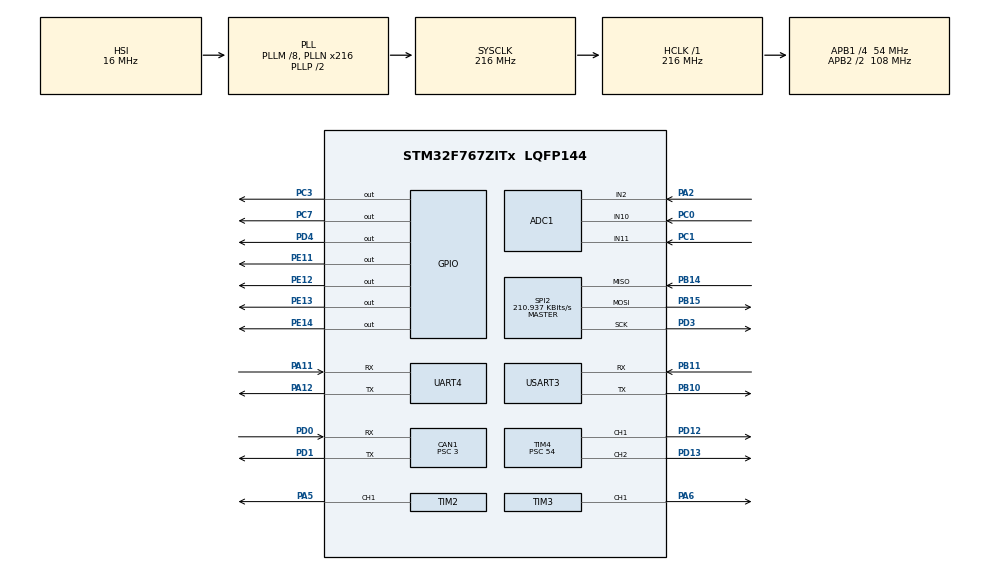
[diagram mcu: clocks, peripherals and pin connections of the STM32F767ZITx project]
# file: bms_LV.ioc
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ADC1.Channel-0\#ChannelRegularConversion=ADC_CHANNEL_2
ADC1.ContinuousConvMode=ENABLE
ADC1.NbrOfConversion=1
ADC1.NbrOfConversionFlag=1
ADC1.Rank-0\#ChannelRegularConversion=1
ADC1.SamplingTime-0\#ChannelRegularConversion=ADC_SAMPLETIME_480CYCLES
ADC1.ScanConvMode=ADC_SCAN_DISABLE
ADC1.master=1
CAN1.AWUM=ENABLE
CAN1.BS1=CAN_BS1_12TQ
CAN1.BS2=CAN_BS2_5TQ
CAN1.CalculateTimeQuantum=55.55555555555556
CAN1.NART=ENABLE
CAN1.Prescaler=3
CAN1.SJW=CAN_SJW_1TQ
Dma.ADC1.0.Direction=DMA_PERIPH_TO_MEMORY
Dma.ADC1.0.FIFOMode=DMA_FIFOMODE_DISABLE
Dma.ADC1.0.Instance=DMA2_Stream0
Dma.ADC1.0.MemDataAlignment=DMA_MDATAALIGN_HALFWORD
Dma.ADC1.0.MemInc=DMA_MINC_ENABLE
Dma.ADC1.0.Mode=DMA_CIRCULAR
Dma.ADC1.0.PeriphDataAlignment=DMA_PDATAALIGN_HALFWORD
Dma.ADC1.0.PeriphInc=DMA_PINC_DISABLE
Dma.ADC1.0.Priority=DMA_PRIORITY_LOW
Dma.Request0=ADC1
Mcu.Family=STM32F7
Mcu.Name=STM32F767ZITx
Mcu.Package=LQFP144
NVIC.ADC_IRQn=true\:0\:0\:false\:false\:true\:true\:true
NVIC.CAN1_RX0_IRQn=true\:0\:0\:false\:true\:true\:3\:true\:true
NVIC.CAN1_RX1_IRQn=true\:0\:0\:false\:true\:true\:2\:true\:true
NVIC.CAN1_SCE_IRQn=true\:0\:0\:false\:true\:true\:1\:true\:true
NVIC.CAN1_TX_IRQn=true\:0\:0\:false\:true\:true\:4\:true\:true
NVIC.DMA2_Stream0_IRQn=true\:0\:0\:false\:false\:true\:false\:true
NVIC.PriorityGroup=NVIC_PRIORITYGROUP_4
PA11.Mode=Asynchronous
PA11.Signal=UART4_RX
PA12.Mode=Asynchronous
PA12.Signal=UART4_TX
PA2.Signal=ADCx_IN2
PA5.Signal=S_TIM2_CH1_ETR
PA6.Signal=S_TIM3_CH1
PB10.Mode=Asynchronous
PB10.Signal=USART3_TX
PB11.Mode=Asynchronous
PB11.Signal=USART3_RX
PB14.Mode=Full_Duplex_Master
PB14.Signal=SPI2_MISO
PB15.Mode=Full_Duplex_Master
PB15.Signal=SPI2_MOSI
PC0.Signal=ADCx_IN10
PC1.Signal=ADCx_IN11
PC3.Signal=GPIO_Output
PC7.Signal=GPIO_Output
PD0.Mode=Master
PD0.Signal=CAN1_RX
PD1.Mode=Master
PD1.Signal=CAN1_TX
PD12.Signal=S_TIM4_CH1
PD13.Signal=S_TIM4_CH2
PD3.Mode=Full_Duplex_Master
PD3.Signal=SPI2_SCK
PD4.Signal=GPIO_Output
PE11.Signal=GPIO_Output
PE12.Signal=GPIO_Output
PE13.Signal=GPIO_Output
PE14.Signal=GPIO_Output
ProjectManager.HeapSize=0x200
ProjectManager.StackSize=0x400
ProjectManager.TargetToolchain=Makefile
RCC.AHBFreq_Value=216000000
RCC.APB1CLKDivider=RCC_HCLK_DIV4
RCC.APB1Freq_Value=54000000
RCC.APB1TimFreq_Value=108000000
RCC.APB2CLKDivider=RCC_HCLK_DIV2
RCC.APB2Freq_Value=108000000
RCC.APB2TimFreq_Value=216000000
RCC.CortexFreq_Value=216000000
RCC.HCLKFreq_Value=216000000
RCC.HSE_VALUE=25000000
RCC.HSI_VALUE=16000000
RCC.LSE_VALUE=32768
RCC.PLLM=8
RCC.PLLN=216
RCC.SYSCLKFreq_VALUE=216000000
RCC.SYSCLKSource=RCC_SYSCLKSOURCE_PLLCLK
RCC.USBFreq_Value=216000000
RCC.VCOOutputFreq_Value=432000000
SH.ADCx_IN10.0=ADC1_IN10,IN10
SH.ADCx_IN11.0=ADC1_IN11,IN11
SH.ADCx_IN2.0=ADC1_IN2,IN2
SH.S_TIM2_CH1_ETR.0=TIM2_CH1,PWM Generation1 CH1
SH.S_TIM3_CH1.0=TIM3_CH1,PWM Generation1 CH1
SH.S_TIM4_CH1.0=TIM4_CH1,PWM Generation1 CH1
SH.S_TIM4_CH2.0=TIM4_CH2,PWM Generation2 CH2
SPI2.BaudRatePrescaler=SPI_BAUDRATEPRESCALER_256
SPI2.CalculateBaudRate=210.937 KBits/s
SPI2.DataSize=SPI_DATASIZE_8BIT
SPI2.Direction=SPI_DIRECTION_2LINES
SPI2.FirstBit=SPI_FIRSTBIT_MSB
SPI2.Mode=SPI_MODE_MASTER
SPI2.VirtualType=VM_MASTER
TIM2.Channel-PWM\ Generation1\ CH1=TIM_CHANNEL_1
TIM2.Period=1000
TIM2.Prescaler=208
TIM2.Pulse-PWM\ Generation1\ CH1=1
TIM3.AutoReloadPreload=TIM_AUTORELOAD_PRELOAD_DISABLE
TIM3.Channel-PWM\ Generation1\ CH1=TIM_CHANNEL_1
TIM3.Period=1000
TIM3.Prescaler=108
TIM3.Pulse-PWM\ Generation1\ CH1=0
TIM4.Channel-PWM\ Generation1\ CH1=TIM_CHANNEL_1
TIM4.Channel-PWM\ Generation2\ CH2=TIM_CHANNEL_2
TIM4.OC2Preload_PWM=ENABLE
TIM4.OCFastMode_PWM-PWM\ Generation1\ CH1=TIM_OCFAST_DISABLE
TIM4.OCFastMode_PWM-PWM\ Generation2\ CH2=TIM_OCFAST_DISABLE
TIM4.Period=1000
TIM4.Prescaler=54
USART3.VirtualMode-Asynchronous=VM_ASYNC
VP_TIM2_VS_ClockSourceINT.Mode=Internal
VP_TIM3_VS_ClockSourceINT.Mode=Internal
VP_TIM4_VS_ClockSourceINT.Mode=Internal
board=custom

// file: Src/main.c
/* USER CODE BEGIN Header */
/**
  ******************************************************************************
  * @file           : main.c
  * @brief          : Main program body
  ******************************************************************************
  * @attention
  *
  * <h2><center>&copy; Copyright (c) 2019 STMicroelectronics.
  * All rights reserved.</center></h2>
  *
  * This software component is licensed by ST under BSD 3-Clause license,
  * the "License"; You may not use this file except in compliance with the
  * License. You may obtain a copy of the License at:
  *                        opensource.org/licenses/BSD-3-Clause
  *
  ******************************************************************************
  */
/* USER CODE END Header */

#include "main.h"

/* USER CODE BEGIN Includes */

#include "pid_controller.h"
#include "ltc.h"
#include "stdio.h"
#include "string.h"
#include "can.h"
#include "current_sensor.h"

/* USER CODE END Includes */

/* USER CODE BEGIN PTD */

/* ---------------- ID ------------------- */
#define BMS_LV_ASK_ID 0xFF     // Foo Fighters
#define STEER_ASK_ID 0xAF      // Steering wheel
#define INV_LEFT_ASK_ID 0x181  // Inverter left
#define INV_RIGHT_ASK_ID 0x182 // Inverter right
#define ACC_TEMP_ASK_ID 0xAA   // Accumulator temperatures
#define ECU_ASK_ID 0xF8        // ECU initial check ID

/* ---------------- PIN ------------------- */
#define RELAY_PIN GPIOC
#define RELAY_PIN_N GPIO_PIN_6

//PC7   -> LED Error
//PC6   -> Relay

//Pump
//PD13  -> PWM  -> Pump1
//PD12  -> PWM  -> Pump2

//Radiator
//PC0   -> ADC  -> Radiator1
//PC1   -> ADC  -> Radiator2

//SPI2
//PB14  -> Miso -> LTC6810-2
//PB15  -> Mosi -> LTC6810-2
//PD3   -> SCK  -> LTC6810-2
//PD4   -> CS   -> LTC6810-2

/* USER CODE END PTD */

ADC_HandleTypeDef hadc1;
DMA_HandleTypeDef hdma_adc1;

CAN_HandleTypeDef hcan1;

SPI_HandleTypeDef hspi2;

TIM_HandleTypeDef htim2;
TIM_HandleTypeDef htim3;
TIM_HandleTypeDef htim4;

UART_HandleTypeDef huart4;
UART_HandleTypeDef huart3;

/* USER CODE BEGIN PV */
const bool DEBUG_SENSOR_CURRENT = false;
const bool DEBUG_LTC = true;
ltc_struct ltc;
extern canStruct can1, can3;
char txt[100];
ADC_ChannelConfTypeDef UserAdcConfig = {0};
/* USER CODE END PV */

void SystemClock_Config(void);
static void MX_GPIO_Init(void);
static void MX_CAN1_Init(void);
static void MX_USART3_UART_Init(void);
static void MX_ADC1_Init(void);
static void MX_SPI2_Init(void);
static void MX_DMA_Init(void);
static void MX_TIM4_Init(void);
static void MX_TIM2_Init(void);
static void MX_TIM3_Init(void);
static void MX_UART4_Init(void);
static void MX_NVIC_Init(void);

int main(void)
{

  /* MCU Configuration--------------------------------------------------------*/

  /* Reset of all peripherals, Initializes the Flash interface and the Systick. */
  HAL_Init();

  /* Configure the system clock */
  SystemClock_Config();

  /* Initialize all configured peripherals */
  MX_GPIO_Init();
  MX_CAN1_Init();
  MX_USART3_UART_Init();
  MX_ADC1_Init();
  MX_SPI2_Init();
  MX_DMA_Init();
  MX_TIM4_Init();
  MX_TIM2_Init();
  MX_TIM3_Init();
  MX_UART4_Init();

  /* Initialize interrupts */
  MX_NVIC_Init();
  /* USER CODE BEGIN 2 */

  //FAN PWM
  HAL_TIM_PWM_Start(&htim2, TIM_CHANNEL_1);
  HAL_TIM_PWM_Start(&htim3, TIM_CHANNEL_1);

  //PUMP PWM
  HAL_TIM_PWM_Start(&htim4, TIM_CHANNEL_1);
  HAL_TIM_PWM_Start(&htim4, TIM_CHANNEL_2);
  /* USER CODE END 2 */

  /* Infinite loop */
  /* USER CODE BEGIN WHILE */

  //ERROR_LED
  for (int i = 0; i < 9; i++)
  {
    HAL_GPIO_TogglePin(GPIOC, GPIO_PIN_7);
    HAL_Delay(100);
  }

  //BUZZER
  HAL_GPIO_WritePin(GPIOC, GPIO_PIN_3, GPIO_PIN_SET);
  HAL_Delay(1000);

  can1.rx0_interrupt = CAN1_RX0_IRQn;
  can1.tx_interrupt = CAN1_TX_IRQn;
  can1.hcan = &hcan1;

  can_init();

  LTC_init(&ltc, &hspi2, 0, GPIOD, GPIO_PIN_4);  //init function of LTC_6810
  user_pwm_setvalue(100, &htim4, TIM_CHANNEL_1); //PUMP1
  user_pwm_setvalue(100, &htim4, TIM_CHANNEL_2); //PUMP2
  user_pwm_setvalue(100, &htim2, TIM_CHANNEL_1);

  UserAdcConfig.Channel = ADC_CHANNEL_2;
  UserAdcConfig.Rank = ADC_REGULAR_RANK_1;
  UserAdcConfig.SamplingTime = ADC_SAMPLETIME_480CYCLES;
  if (HAL_ADC_ConfigChannel(&hadc1, &UserAdcConfig) != HAL_OK)
  {
    Error_Handler();
  }
  HAL_ADC_Start_IT(&hadc1);

  int count = 0;
  while (1)
  {
    /****************************************************************************************************
    ****************************************************************************************************
    ****************************************************************************************************
    ****************************************************************************************************/
    /* USER CODE END WHILE */

    /* USER CODE BEGIN 3 */
    //loading();

    char txt[100];
    ltc_read_ID(&ltc);
    // ltc_read_STATUS(&ltc);
    // sprintf(txt, "Status: %d %d %d\r\n", ltc.STATUS_SC, ltc.STATUS_ITMP, ltc.STATUS_VA);
    // HAL_UART_Transmit(&huart4, (uint8_t *)txt, strlen(txt), 10);
    // read_voltages(&ltc);
    // sprintf(txt, "Voltages: %d %d %d %d %d\r\n", ltc.voltage[0], ltc.voltage[1], ltc.voltage[2], ltc.voltage[3], ltc.voltage[4], ltc.voltage[5]);
    // HAL_UART_Transmit(&huart4, (uint8_t *)txt, strlen(txt), 10);
    //user_pwm_setvalue(count % 1000, &htim4, TIM_CHANNEL_2); //1000 = 0.5ms
    //user_pwm_setvalue(count % 1000, &htim2, TIM_CHANNEL_1);
    //user_pwm_setvalue(count % 1000, &htim3, TIM_CHANNEL_1);
    //count++;

    HAL_Delay(10);

    CAN_Read_Message();
  }
  /* USER CODE END 3 */
}

void SystemClock_Config(void)
{
  RCC_OscInitTypeDef RCC_OscInitStruct = {0};
  RCC_ClkInitTypeDef RCC_ClkInitStruct = {0};
  RCC_PeriphCLKInitTypeDef PeriphClkInitStruct = {0};

  /** Configure the main internal regulator output voltage
  */
  __HAL_RCC_PWR_CLK_ENABLE();
  __HAL_PWR_VOLTAGESCALING_CONFIG(PWR_REGULATOR_VOLTAGE_SCALE1);
  /** Initializes the CPU, AHB and APB busses clocks
  */
  RCC_OscInitStruct.OscillatorType = RCC_OSCILLATORTYPE_HSI;
  RCC_OscInitStruct.HSIState = RCC_HSI_ON;
  RCC_OscInitStruct.HSICalibrationValue = RCC_HSICALIBRATION_DEFAULT;
  RCC_OscInitStruct.PLL.PLLState = RCC_PLL_ON;
  RCC_OscInitStruct.PLL.PLLSource = RCC_PLLSOURCE_HSI;
  RCC_OscInitStruct.PLL.PLLM = 8;
  RCC_OscInitStruct.PLL.PLLN = 216;
  RCC_OscInitStruct.PLL.PLLP = RCC_PLLP_DIV2;
  RCC_OscInitStruct.PLL.PLLQ = 2;
  if (HAL_RCC_OscConfig(&RCC_OscInitStruct) != HAL_OK)
  {
    Error_Handler();
  }
  /** Activate the Over-Drive mode
  */
  if (HAL_PWREx_EnableOverDrive() != HAL_OK)
  {
    Error_Handler();
  }
  /** Initializes the CPU, AHB and APB busses clocks
  */
  RCC_ClkInitStruct.ClockType = RCC_CLOCKTYPE_HCLK|RCC_CLOCKTYPE_SYSCLK
                              |RCC_CLOCKTYPE_PCLK1|RCC_CLOCKTYPE_PCLK2;
  RCC_ClkInitStruct.SYSCLKSource = RCC_SYSCLKSOURCE_PLLCLK;
  RCC_ClkInitStruct.AHBCLKDivider = RCC_SYSCLK_DIV1;
  RCC_ClkInitStruct.APB1CLKDivider = RCC_HCLK_DIV4;
  RCC_ClkInitStruct.APB2CLKDivider = RCC_HCLK_DIV2;

  if (HAL_RCC_ClockConfig(&RCC_ClkInitStruct, FLASH_LATENCY_7) != HAL_OK)
  {
    Error_Handler();
  }
  PeriphClkInitStruct.PeriphClockSelection = RCC_PERIPHCLK_USART3|RCC_PERIPHCLK_UART4;
  PeriphClkInitStruct.Usart3ClockSelection = RCC_USART3CLKSOURCE_PCLK1;
  PeriphClkInitStruct.Uart4ClockSelection = RCC_UART4CLKSOURCE_PCLK1;
  if (HAL_RCCEx_PeriphCLKConfig(&PeriphClkInitStruct) != HAL_OK)
  {
    Error_Handler();
  }
}

/**
  * @brief NVIC Configuration.
  * @retval None
  */
static void MX_NVIC_Init(void)
{
  /* CAN1_SCE_IRQn interrupt configuration */
  HAL_NVIC_SetPriority(CAN1_SCE_IRQn, 0, 0);
  HAL_NVIC_EnableIRQ(CAN1_SCE_IRQn);
  /* CAN1_RX1_IRQn interrupt configuration */
  HAL_NVIC_SetPriority(CAN1_RX1_IRQn, 0, 0);
  HAL_NVIC_EnableIRQ(CAN1_RX1_IRQn);
  /* CAN1_RX0_IRQn interrupt configuration */
  HAL_NVIC_SetPriority(CAN1_RX0_IRQn, 0, 0);
  HAL_NVIC_EnableIRQ(CAN1_RX0_IRQn);
  /* CAN1_TX_IRQn interrupt configuration */
  HAL_NVIC_SetPriority(CAN1_TX_IRQn, 0, 0);
  HAL_NVIC_EnableIRQ(CAN1_TX_IRQn);
}

static void MX_ADC1_Init(void)
{

  ADC_ChannelConfTypeDef sConfig = {0};

  /** Configure the global features of the ADC (Clock, Resolution, Data Alignment and number of conversion)
  */
  hadc1.Instance = ADC1;
  hadc1.Init.ClockPrescaler = ADC_CLOCK_SYNC_PCLK_DIV4;
  hadc1.Init.Resolution = ADC_RESOLUTION_12B;
  hadc1.Init.ScanConvMode = ADC_SCAN_DISABLE;
  hadc1.Init.ContinuousConvMode = ENABLE;
  hadc1.Init.DiscontinuousConvMode = DISABLE;
  hadc1.Init.ExternalTrigConvEdge = ADC_EXTERNALTRIGCONVEDGE_NONE;
  hadc1.Init.ExternalTrigConv = ADC_SOFTWARE_START;
  hadc1.Init.DataAlign = ADC_DATAALIGN_RIGHT;
  hadc1.Init.NbrOfConversion = 1;
  hadc1.Init.DMAContinuousRequests = DISABLE;
  hadc1.Init.EOCSelection = ADC_EOC_SINGLE_CONV;
  if (HAL_ADC_Init(&hadc1) != HAL_OK)
  {
    Error_Handler();
  }
  /** Configure for the selected ADC regular channel its corresponding rank in the sequencer and its sample time.
  */
  sConfig.Channel = ADC_CHANNEL_2;
  sConfig.Rank = ADC_REGULAR_RANK_1;
  sConfig.SamplingTime = ADC_SAMPLETIME_480CYCLES;
  if (HAL_ADC_ConfigChannel(&hadc1, &sConfig) != HAL_OK)
  {
    Error_Handler();
  }

}

static void MX_CAN1_Init(void)
{

  hcan1.Instance = CAN1;
  hcan1.Init.Prescaler = 3;
  hcan1.Init.Mode = CAN_MODE_NORMAL;
  hcan1.Init.SyncJumpWidth = CAN_SJW_1TQ;
  hcan1.Init.TimeSeg1 = CAN_BS1_12TQ;
  hcan1.Init.TimeSeg2 = CAN_BS2_5TQ;
  hcan1.Init.TimeTriggeredMode = DISABLE;
  hcan1.Init.AutoBusOff = DISABLE;
  hcan1.Init.AutoWakeUp = ENABLE;
  hcan1.Init.AutoRetransmission = ENABLE;
  hcan1.Init.ReceiveFifoLocked = DISABLE;
  hcan1.Init.TransmitFifoPriority = DISABLE;
  if (HAL_CAN_Init(&hcan1) != HAL_OK)
  {
    Error_Handler();
  }

}

static void MX_SPI2_Init(void)
{

  /* SPI2 parameter configuration*/
  hspi2.Instance = SPI2;
  hspi2.Init.Mode = SPI_MODE_MASTER;
  hspi2.Init.Direction = SPI_DIRECTION_2LINES;
  hspi2.Init.DataSize = SPI_DATASIZE_8BIT;
  hspi2.Init.CLKPolarity = SPI_POLARITY_LOW;
  hspi2.Init.CLKPhase = SPI_PHASE_1EDGE;
  hspi2.Init.NSS = SPI_NSS_SOFT;
  hspi2.Init.BaudRatePrescaler = SPI_BAUDRATEPRESCALER_256;
  hspi2.Init.FirstBit = SPI_FIRSTBIT_MSB;
  hspi2.Init.TIMode = SPI_TIMODE_DISABLE;
  hspi2.Init.CRCCalculation = SPI_CRCCALCULATION_DISABLE;
  hspi2.Init.CRCPolynomial = 7;
  hspi2.Init.CRCLength = SPI_CRC_LENGTH_DATASIZE;
  hspi2.Init.NSSPMode = SPI_NSS_PULSE_ENABLE;
  if (HAL_SPI_Init(&hspi2) != HAL_OK)
  {
    Error_Handler();
  }

}

static void MX_TIM2_Init(void)
{

  TIM_ClockConfigTypeDef sClockSourceConfig = {0};
  TIM_MasterConfigTypeDef sMasterConfig = {0};
  TIM_OC_InitTypeDef sConfigOC = {0};

  htim2.Instance = TIM2;
  htim2.Init.Prescaler = 208;
  htim2.Init.CounterMode = TIM_COUNTERMODE_UP;
  htim2.Init.Period = 1000;
  htim2.Init.ClockDivision = TIM_CLOCKDIVISION_DIV1;
  htim2.Init.AutoReloadPreload = TIM_AUTORELOAD_PRELOAD_DISABLE;
  if (HAL_TIM_Base_Init(&htim2) != HAL_OK)
  {
    Error_Handler();
  }
  sClockSourceConfig.ClockSource = TIM_CLOCKSOURCE_INTERNAL;
  if (HAL_TIM_ConfigClockSource(&htim2, &sClockSourceConfig) != HAL_OK)
  {
    Error_Handler();
  }
  if (HAL_TIM_PWM_Init(&htim2) != HAL_OK)
  {
    Error_Handler();
  }
  sMasterConfig.MasterOutputTrigger = TIM_TRGO_RESET;
  sMasterConfig.MasterSlaveMode = TIM_MASTERSLAVEMODE_DISABLE;
  if (HAL_TIMEx_MasterConfigSynchronization(&htim2, &sMasterConfig) != HAL_OK)
  {
    Error_Handler();
  }
  sConfigOC.OCMode = TIM_OCMODE_PWM1;
  sConfigOC.Pulse = 1;
  sConfigOC.OCPolarity = TIM_OCPOLARITY_HIGH;
  sConfigOC.OCFastMode = TIM_OCFAST_DISABLE;
  if (HAL_TIM_PWM_ConfigChannel(&htim2, &sConfigOC, TIM_CHANNEL_1) != HAL_OK)
  {
    Error_Handler();
  }
  HAL_TIM_MspPostInit(&htim2);

}

static void MX_TIM3_Init(void)
{

  TIM_ClockConfigTypeDef sClockSourceConfig = {0};
  TIM_MasterConfigTypeDef sMasterConfig = {0};
  TIM_OC_InitTypeDef sConfigOC = {0};

  htim3.Instance = TIM3;
  htim3.Init.Prescaler = 108;
  htim3.Init.CounterMode = TIM_COUNTERMODE_UP;
  htim3.Init.Period = 1000;
  htim3.Init.ClockDivision = TIM_CLOCKDIVISION_DIV1;
  htim3.Init.AutoReloadPreload = TIM_AUTORELOAD_PRELOAD_DISABLE;
  if (HAL_TIM_Base_Init(&htim3) != HAL_OK)
  {
    Error_Handler();
  }
  sClockSourceConfig.ClockSource = TIM_CLOCKSOURCE_INTERNAL;
  if (HAL_TIM_ConfigClockSource(&htim3, &sClockSourceConfig) != HAL_OK)
  {
    Error_Handler();
  }
  if (HAL_TIM_PWM_Init(&htim3) != HAL_OK)
  {
    Error_Handler();
  }
  sMasterConfig.MasterOutputTrigger = TIM_TRGO_RESET;
  sMasterConfig.MasterSlaveMode = TIM_MASTERSLAVEMODE_DISABLE;
  if (HAL_TIMEx_MasterConfigSynchronization(&htim3, &sMasterConfig) != HAL_OK)
  {
    Error_Handler();
  }
  sConfigOC.OCMode = TIM_OCMODE_PWM1;
  sConfigOC.Pulse = 0;
  sConfigOC.OCPolarity = TIM_OCPOLARITY_HIGH;
  sConfigOC.OCFastMode = TIM_OCFAST_DISABLE;
  if (HAL_TIM_PWM_ConfigChannel(&htim3, &sConfigOC, TIM_CHANNEL_1) != HAL_OK)
  {
    Error_Handler();
  }
  HAL_TIM_MspPostInit(&htim3);

}

static void MX_TIM4_Init(void)
{

  TIM_ClockConfigTypeDef sClockSourceConfig = {0};
  TIM_MasterConfigTypeDef sMasterConfig = {0};
  TIM_OC_InitTypeDef sConfigOC = {0};

  htim4.Instance = TIM4;
  htim4.Init.Prescaler = 54;
  htim4.Init.CounterMode = TIM_COUNTERMODE_UP;
  htim4.Init.Period = 1000;
  htim4.Init.ClockDivision = TIM_CLOCKDIVISION_DIV1;
  htim4.Init.AutoReloadPreload = TIM_AUTORELOAD_PRELOAD_DISABLE;
  if (HAL_TIM_Base_Init(&htim4) != HAL_OK)
  {
    Error_Handler();
  }
  sClockSourceConfig.ClockSource = TIM_CLOCKSOURCE_INTERNAL;
  if (HAL_TIM_ConfigClockSource(&htim4, &sClockSourceConfig) != HAL_OK)
  {
    Error_Handler();
  }
  if (HAL_TIM_PWM_Init(&htim4) != HAL_OK)
  {
    Error_Handler();
  }
  sMasterConfig.MasterOutputTrigger = TIM_TRGO_RESET;
  sMasterConfig.MasterSlaveMode = TIM_MASTERSLAVEMODE_DISABLE;
  if (HAL_TIMEx_MasterConfigSynchronization(&htim4, &sMasterConfig) != HAL_OK)
  {
    Error_Handler();
  }
  sConfigOC.OCMode = TIM_OCMODE_PWM1;
  sConfigOC.Pulse = 0;
  sConfigOC.OCPolarity = TIM_OCPOLARITY_HIGH;
  sConfigOC.OCFastMode = TIM_OCFAST_DISABLE;
  if (HAL_TIM_PWM_ConfigChannel(&htim4, &sConfigOC, TIM_CHANNEL_1) != HAL_OK)
  {
    Error_Handler();
  }
  if (HAL_TIM_PWM_ConfigChannel(&htim4, &sConfigOC, TIM_CHANNEL_2) != HAL_OK)
  {
    Error_Handler();
  }
  HAL_TIM_MspPostInit(&htim4);

}

static void MX_UART4_Init(void)
{

  huart4.Instance = UART4;
  huart4.Init.BaudRate = 115200;
  huart4.Init.WordLength = UART_WORDLENGTH_8B;
  huart4.Init.StopBits = UART_STOPBITS_1;
  huart4.Init.Parity = UART_PARITY_NONE;
  huart4.Init.Mode = UART_MODE_TX_RX;
  huart4.Init.HwFlowCtl = UART_HWCONTROL_NONE;
  huart4.Init.OverSampling = UART_OVERSAMPLING_16;
  huart4.Init.OneBitSampling = UART_ONE_BIT_SAMPLE_DISABLE;
  huart4.AdvancedInit.AdvFeatureInit = UART_ADVFEATURE_NO_INIT;
  if (HAL_UART_Init(&huart4) != HAL_OK)
  {
    Error_Handler();
  }

}

static void MX_USART3_UART_Init(void)
{

  huart3.Instance = USART3;
  huart3.Init.BaudRate = 115200;
  huart3.Init.WordLength = UART_WORDLENGTH_8B;
  huart3.Init.StopBits = UART_STOPBITS_1;
  huart3.Init.Parity = UART_PARITY_NONE;
  huart3.Init.Mode = UART_MODE_TX_RX;
  huart3.Init.HwFlowCtl = UART_HWCONTROL_NONE;
  huart3.Init.OverSampling = UART_OVERSAMPLING_16;
  huart3.Init.OneBitSampling = UART_ONE_BIT_SAMPLE_DISABLE;
  huart3.AdvancedInit.AdvFeatureInit = UART_ADVFEATURE_NO_INIT;
  if (HAL_UART_Init(&huart3) != HAL_OK)
  {
    Error_Handler();
  }

}

static void MX_DMA_Init(void)
{

  /* DMA controller clock enable */
  __HAL_RCC_DMA2_CLK_ENABLE();

  /* DMA interrupt init */
  /* DMA2_Stream0_IRQn interrupt configuration */
  HAL_NVIC_SetPriority(DMA2_Stream0_IRQn, 0, 0);
  HAL_NVIC_EnableIRQ(DMA2_Stream0_IRQn);

}

static void MX_GPIO_Init(void)
{
  GPIO_InitTypeDef GPIO_InitStruct = {0};

  /* GPIO Ports Clock Enable */
  __HAL_RCC_GPIOC_CLK_ENABLE();
  __HAL_RCC_GPIOA_CLK_ENABLE();
  __HAL_RCC_GPIOE_CLK_ENABLE();
  __HAL_RCC_GPIOB_CLK_ENABLE();
  __HAL_RCC_GPIOD_CLK_ENABLE();

  /*Configure GPIO pin Output Level */
  HAL_GPIO_WritePin(GPIOC, GPIO_PIN_3|GPIO_PIN_7, GPIO_PIN_RESET);

  /*Configure GPIO pin Output Level */
  HAL_GPIO_WritePin(GPIOE, GPIO_PIN_11|GPIO_PIN_12|GPIO_PIN_13|GPIO_PIN_14, GPIO_PIN_RESET);

  /*Configure GPIO pin Output Level */
  HAL_GPIO_WritePin(GPIOD, GPIO_PIN_4, GPIO_PIN_RESET);

  /*Configure GPIO pins : PC3 PC7 */
  GPIO_InitStruct.Pin = GPIO_PIN_3|GPIO_PIN_7;
  GPIO_InitStruct.Mode = GPIO_MODE_OUTPUT_PP;
  GPIO_InitStruct.Pull = GPIO_NOPULL;
  GPIO_InitStruct.Speed = GPIO_SPEED_FREQ_LOW;
  HAL_GPIO_Init(GPIOC, &GPIO_InitStruct);

  /*Configure GPIO pins : PE11 PE12 PE13 PE14 */
  GPIO_InitStruct.Pin = GPIO_PIN_11|GPIO_PIN_12|GPIO_PIN_13|GPIO_PIN_14;
  GPIO_InitStruct.Mode = GPIO_MODE_OUTPUT_PP;
  GPIO_InitStruct.Pull = GPIO_NOPULL;
  GPIO_InitStruct.Speed = GPIO_SPEED_FREQ_LOW;
  HAL_GPIO_Init(GPIOE, &GPIO_InitStruct);

  /*Configure GPIO pin : PD4 */
  GPIO_InitStruct.Pin = GPIO_PIN_4;
  GPIO_InitStruct.Mode = GPIO_MODE_OUTPUT_PP;
  GPIO_InitStruct.Pull = GPIO_NOPULL;
  GPIO_InitStruct.Speed = GPIO_SPEED_FREQ_LOW;
  HAL_GPIO_Init(GPIOD, &GPIO_InitStruct);

}

/* USER CODE BEGIN 4 */
void HAL_ADC_ConvCpltCallback(ADC_HandleTypeDef* hadc){
  if(hadc == &hadc1){
    if(UserAdcConfig.Channel == ADC_CHANNEL_2){
      uint32_t current;
      uint32_t volt;
      volt = HAL_ADC_GetValue(hadc);
      current = getCurrent(volt);
      push_into_array(current);
      current = mean_current();
      if(DEBUG_SENSOR_CURRENT == true){
        sprintf(txt, "Current from sensor: %lu\r\n" , current);
        HAL_UART_Transmit(&huart4, (uint8_t *)txt, strlen(txt), 10);
      }

    }
  }
  HAL_ADC_Start_IT(&hadc1);

}
void user_pwm_setvalue(uint32_t value, TIM_HandleTypeDef *htim, uint32_t Channel)
{
  HAL_TIM_PWM_Stop(htim, Channel);

  TIM_OC_InitTypeDef sConfigOC;
  sConfigOC.OCMode = TIM_OCMODE_PWM1;
  sConfigOC.Pulse = value;
  sConfigOC.OCPolarity = TIM_OCPOLARITY_HIGH;
  sConfigOC.OCFastMode = TIM_OCFAST_DISABLE;

  HAL_TIM_PWM_ConfigChannel(htim, &sConfigOC, Channel);
  HAL_TIM_PWM_Start(htim, Channel);
}

void loading()
{
  int delay = 100;
  HAL_GPIO_WritePin(GPIOE, GPIO_PIN_11, GPIO_PIN_SET);
  HAL_Delay(delay);
  HAL_GPIO_WritePin(GPIOE, GPIO_PIN_12, GPIO_PIN_SET);
  HAL_Delay(delay);
  HAL_GPIO_WritePin(GPIOE, GPIO_PIN_13, GPIO_PIN_SET);
  HAL_Delay(delay);
  HAL_GPIO_WritePin(GPIOE, GPIO_PIN_14, GPIO_PIN_SET);
  HAL_Delay(delay * 3);

  HAL_GPIO_WritePin(GPIOE, GPIO_PIN_11, GPIO_PIN_RESET);
  HAL_Delay(delay);
  HAL_GPIO_WritePin(GPIOE, GPIO_PIN_12, GPIO_PIN_RESET);
  HAL_Delay(delay);
  HAL_GPIO_WritePin(GPIOE, GPIO_PIN_13, GPIO_PIN_RESET);
  HAL_Delay(delay);
  HAL_GPIO_WritePin(GPIOE, GPIO_PIN_14, GPIO_PIN_RESET);
  HAL_Delay(delay);
}

int CAN_Read_Message()
{
  if (fifoRxDataCAN_pop(&can1))
  {
    switch (can1.rx_id)
    {
    case INV_LEFT_ASK_ID:
      if (can1.dataRx[0] == 0x4A)
      { // Inverter left temperature
        // invLeftTemp = can->dataRx[1] + (can->dataRx[2] << 8);
        // inverterLeftTemp = (invLeftTemp - 15797) / 112.12;
      }
      else if (can1.dataRx[0] == 0x49)
      { // Motor left temperature
        // motLeftTemp = can->dataRx[1] + (can->dataRx[2] << 8);
        // motorLeftTemp = (motLeftTemp - 9394) / 55.10;
      }
      break;
    case INV_RIGHT_ASK_ID:
      if (can1.dataRx[0] == 0x4A)
      { // Inverter right temperature
        // invRightTemp = can->dataRx[1] + (can->dataRx[2] << 8);
        // inverterRightTemp = (invLeftTemp - 15797) / 112.12;
      }
      else if (can1.dataRx[0] == 0x49)
      { // Motor right temperature
        // motRightTemp = can->dataRx[1] + (can->dataRx[2] << 8);
        // motorRightTemp = (motLeftTemp - 9394) / 55.10;
      }
      break;
    case STEER_ASK_ID:
      if (can1.dataRx[0] == 0)
      {
        // overridePID = RxData[1]; // 1 - override PID
      }
      else if (can1.dataRx[0] == 1)
      {
        // overridePID = RxData[1];
        // pumpRequest = RxData[2];
      }
      else if (can1.dataRx[0] == 2)
      {
        // overridePID = RxData[1];
        // fanRequest = RxData[2];
      }
      else if (can1.dataRx[0] == 3 && can1.dataRx[1] == 1)
      {
        // overridePID = 2;
      }
      break;
    case ACC_TEMP_ASK_ID:
      if (can1.dataRx[0] == 6)
      { // Little endian
        // tmpHvAvgTemp = can->dataRx[5] + (can->dataRx[4] << 8);
        // hvAvgTemp = tmpHvAvgTemp / 100.0;
      }
      else if (can1.dataRx[0] == 6)
      {
        // tmpHvMaxTemp = can->dataRx[7] + (can->dataRx[6] << 8);
        // hvMaxTemp = tmpHvMaxTemp / 100.0;
      }
      break;
    case ECU_ASK_ID:
      break;
    case BMS_LV_ASK_ID:
      break;

    default:
      break;
    }
    return 0;
  }
}

/* USER CODE END 4 */

void Error_Handler(void)
{
}

/************************ (C) COPYRIGHT STMicroelectronics *****END OF FILE****/
